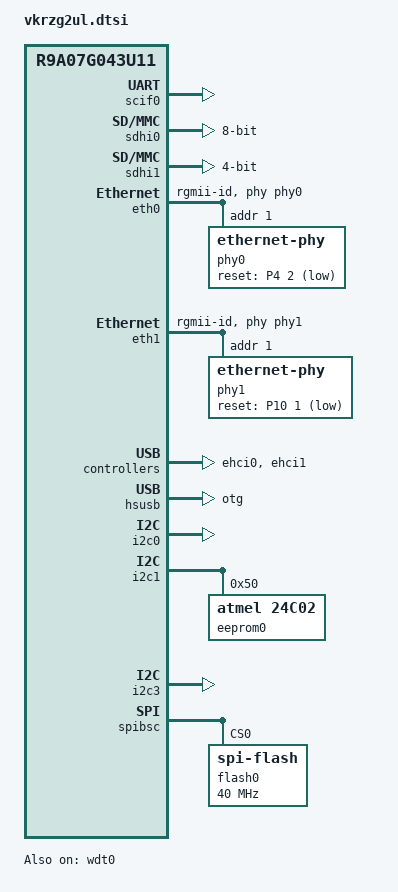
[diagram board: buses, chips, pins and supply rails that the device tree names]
// SPDX-License-Identifier: GPL-2.0
/*
 * Device Tree Source for the VK-RZG2UL board
 *
 */

/dts-v1/;
#include <dt-bindings/gpio/gpio.h>
#include "r9a07g043u11.dtsi"
#include "r9a07g043u11-u-boot.dtsi"
#include <dt-bindings/pinctrl/rzg2l-pinctrl.h>

/ {
        aliases {
                serial0 = &scif0;
                spi0 = &spibsc;
        };

        chosen {
                stdout-path = "serial0:115200n8";
        };
};

&pinctrl {
        eth0_pins: eth0 {
                pinmux = <RZG2L_PINMUX( 1, 0, 1)>, /* ET0_TXC */
                         <RZG2L_PINMUX( 1, 1, 1)>, /* ET0_TX_CTL */
                         <RZG2L_PINMUX( 1, 2, 1)>, /* ET0_TXD0 */
                         <RZG2L_PINMUX( 1, 3, 1)>, /* ET0_TXD1 */
                         <RZG2L_PINMUX( 1, 4, 1)>, /* ET0_TXD2 */
                         <RZG2L_PINMUX( 2, 0, 1)>, /* ET0_TXD3 */
                         <RZG2L_PINMUX( 3, 0, 1)>, /* ET0_RXC */
                         <RZG2L_PINMUX( 3, 1, 1)>, /* ET0_RX_CTL */
                         <RZG2L_PINMUX( 3, 2, 1)>, /* ET0_RXD0 */
                         <RZG2L_PINMUX( 3, 3, 1)>, /* ET0_RXD1 */
                         <RZG2L_PINMUX( 4, 0, 1)>, /* ET0_RXD2 */
                         <RZG2L_PINMUX( 4, 1, 1)>, /* ET0_RXD3 */
                         <RZG2L_PINMUX( 4, 3, 1)>, /* ET0_MDC */
                         <RZG2L_PINMUX( 4, 4, 1)>, /* ET0_MDIO */
			 <RZG2L_PINMUX( 4, 5, 1)>; /* ET0_LINKSTA */
        };

        eth1_pins: eth1 {
        	pinmux = <RZG2L_PINMUX(7, 0, 1)>,  /* ET1_TXC */      
        		 <RZG2L_PINMUX(7, 1, 1)>,  /* ET1_TX_CTL */    
        		 <RZG2L_PINMUX(7, 2, 1)>,  /* ET1_TXD0 */      
        		 <RZG2L_PINMUX(7, 3, 1)>,  /* ET1_TXD1 */      
        		 <RZG2L_PINMUX(7, 4, 1)>,  /* ET1_TXD2 */      
        		 <RZG2L_PINMUX(8, 0, 1)>,  /* ET1_TXD3 */      
        		 <RZG2L_PINMUX(8, 4, 1)>,  /* ET1_RXC */       
        		 <RZG2L_PINMUX(9, 0, 1)>,  /* ET1_RX_CTL */    
        		 <RZG2L_PINMUX(9, 1, 1)>,  /* ET1_RXD0 */      
        		 <RZG2L_PINMUX(9, 2, 1)>,  /* ET1_RXD1 */      
        		 <RZG2L_PINMUX(9, 3, 1)>,  /* ET1_RXD2 */      
        		 <RZG2L_PINMUX(10, 0, 1)>, /* ET1_RXD3 */      
        		 <RZG2L_PINMUX(10, 2, 1)>, /* ET1_MDC */      
        		 <RZG2L_PINMUX(10, 3, 1)>, /* ET1_MDIO */     
        		 <RZG2L_PINMUX(10, 4, 1)>; /* ET1_LINKSTA */   
            };

        i2c3_pins: i2c3 {
                pinmux = <RZG2L_PINMUX(0, 0, 2)>,
                         <RZG2L_PINMUX(0, 1, 2)>;
        }; 
};

&xinclk {
        clock-frequency = <24000000>;
};

&scif0 {
        status = "okay";
        clock = <100000000>;
};

&sdhi0 {
        /* pinctrl placeholder
         * If this channel is used for interfacing with a SD card, a power enable
         * pin (SD0_PWR_EN) must be defined.
         * The SD0_PWR_EN pin is associated with P4_1.
         * A HIGH signal on SD0_PWR_EN will enable supply voltage for SD card.
        */
        bus-width = <8>;
        status = "okay";
};

&sdhi1 {
        /* pinctrl placeholder
         * A power enable pin (SD1_PWR_EN) must be defined to interface with a
         * SD card.
         * The SD1_PWR_EN pin is associated with P39_2.
         * A HIGH signal on SD1_PWR_EN will enable supply voltage for SD card.
        */
        bus-width = <4>;
        status = "okay";
};

&eth0 {
        pinctrl-names = "default";
        pinctrl-0 = <&eth0_pins>;
        phy-handle = <&phy0>;
        phy-mode = "rgmii-id";
        status = "okay";

        phy0: ethernet-phy@1 {
                reg = <1>;
                /*reset-gpios = <&P4 2 GPIO_ACTIVE_LOW>;*/
		reset-gpios = <&P4 2 (GPIO_ACTIVE_LOW|GPIO_OPEN_DRAIN)>;
        };
};

   
&eth1 {
        pinctrl-names = "default";
        pinctrl-0 = <&eth1_pins>;
        phy-handle = <&phy1>;
        phy-mode = "rgmii-id";
        status = "okay";

        phy1: ethernet-phy@1 {
                reg = <1>;
                reset-gpios = <&P10 1 (GPIO_ACTIVE_LOW|GPIO_OPEN_DRAIN)>;
        };
};


&ehci0 {
        status = "okay";
}; 

&ehci1 {
        status = "okay";
};

&hsusb {
	dr_mode = "otg";
	status = "okay";
};

&i2c0 {
        pinctrl-names = "default";
        status = "okay";

};

&i2c1 {
        pinctrl-names = "default";
        status = "okay";

	eeprom0: eeprom@50 {
		compatible = "atmel,24c02";
		reg = <0x50>;
		pagesize = <16>;
	};
};


&i2c3 {
        pinctrl-0 = <&i2c3_pins>;
        pinctrl-names = "default";
        status = "okay";
};

&spibsc {
        num-cs = <1>;
        status = "okay";
        spi-max-frequency = <40000000>;
        #address-cells = <1>;
        #size-cells = <0>;
        flash0: spi-flash@0 {
                #address-cells = <1>;
                #size-cells = <1>;
                compatible = "spi-flash", "jedec,spi-nor";
                spi-max-frequency = <40000000>;
                spi-tx-bus-width = <1>;
                spi-rx-bus-width = <1>;
                reg = <0>;
                status = "okay";
        };
};

&wdt0 {
        status = "okay";
        timeout-sec = <60>;
};
